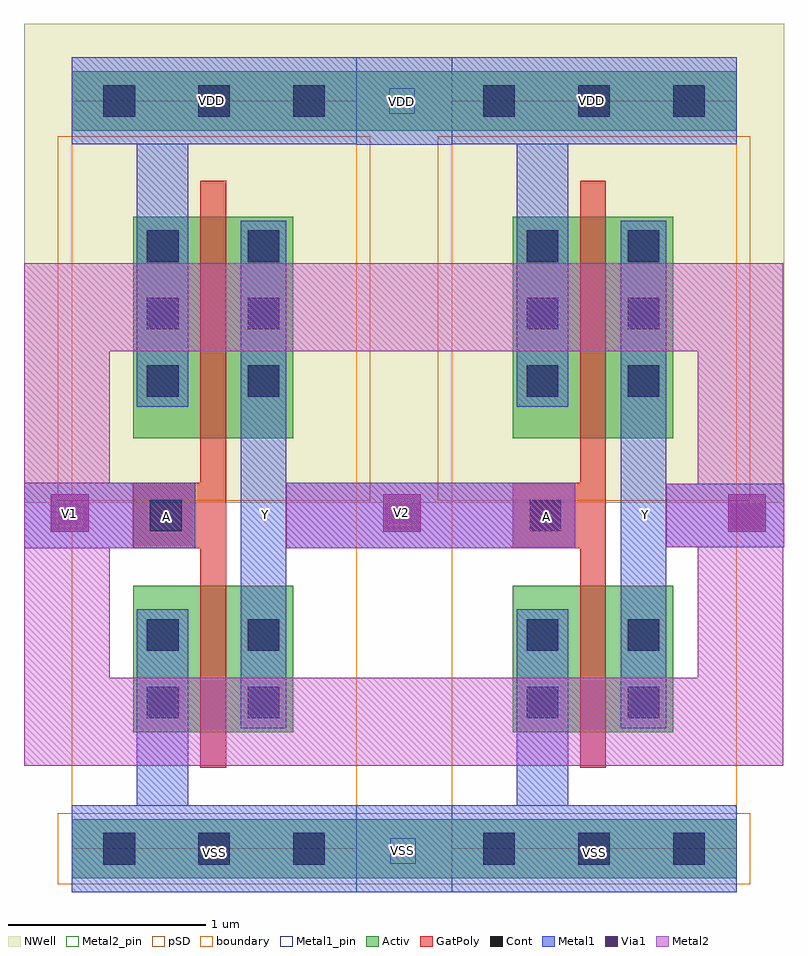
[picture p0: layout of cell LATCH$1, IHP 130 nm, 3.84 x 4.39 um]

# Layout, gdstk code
import gdstk
lib = gdstk.Library(unit=1e-6, precision=1e-09)
def R(c, l, rs):  # rectangles x0, y0, x1, y1
    for r in rs: c.add(gdstk.rectangle(r[:2], r[2:], *l))
def A(c, l, x, y, w, h, nx, ny, dx, dy):  # array of equal rectangles
    R(c, l, [(x+i*dx, y+j*dy, x+i*dx+w, y+j*dy+h) for i in range(nx) for j in range(ny)])
def P(c, l, *ps):  # polygons
    for p in ps: c.add(gdstk.Polygon(p, *l))
Activ = (1, 0)
GatPoly = (5, 0)
Cont = (6, 0)
Metal1 = (8, 0)
Metal1_pin = (8, 2)
Metal2 = (10, 0)
Metal2_pin = (10, 2)
pSD = (14, 0)
Via1 = (19, 0)
NWell = (31, 0)
boundary = (189, 4)

latch_1 = lib.new_cell('LATCH$1')
R(latch_1, Activ, [(6.341,3.971,7.781,4.271), (7.781,3.971,8.261,4.271), (8.261,3.971,9.701,4.271), (6.651,4.711,7.461,5.451), (8.571,4.711,9.381,5.451), (6.651,6.196,7.461,7.316), (8.571,6.196,9.381,7.316), (6.341,7.751,7.781,8.051), (7.781,7.751,8.263,8.051), (8.261,7.751,9.701,8.051)])
P(latch_1, GatPoly, [(6.991,4.531),(6.991,5.641),(6.651,5.641),(6.651,5.971),(6.991,5.971),(6.991,7.496),(7.121,7.496),(7.121,4.531)],
  [(8.911,4.531),(8.911,5.641),(8.571,5.641),(8.571,5.971),(8.911,5.971),(8.911,7.496),(9.041,7.496),(9.041,4.531)])
A(latch_1, Cont, 6.721, 6.406, 0.16, 0.16, 1, 3, 0, 0.34)
A(latch_1, Cont, 7.231, 6.406, 0.16, 0.16, 1, 3, 0, 0.34)
A(latch_1, Cont, 8.641, 6.406, 0.16, 0.16, 1, 3, 0, 0.34)
A(latch_1, Cont, 9.151, 6.406, 0.16, 0.16, 1, 3, 0, 0.34)
R(latch_1, Cont, [(6.501,4.041,6.661,4.201), (6.501,4.041,6.661,4.201), (6.981,4.041,7.141,4.201), (6.981,4.041,7.141,4.201), (7.461,4.041,7.621,4.201), (7.461,4.041,7.621,4.201), (8.421,4.041,8.581,4.201), (8.421,4.041,8.581,4.201), (8.901,4.041,9.061,4.201), (8.901,4.041,9.061,4.201), (9.381,4.041,9.541,4.201), (9.381,4.041,9.541,4.201), (6.721,4.781,6.881,4.941), (7.231,4.781,7.391,4.941), (8.641,4.781,8.801,4.941), (9.151,4.781,9.311,4.941), (6.721,5.121,6.881,5.281), (7.231,5.121,7.391,5.281), (8.641,5.121,8.801,5.281), (9.151,5.121,9.311,5.281), (6.736,5.726,6.896,5.886), (8.656,5.726,8.816,5.886), (6.501,7.821,6.661,7.981), (6.501,7.821,6.661,7.981), (6.981,7.821,7.141,7.981), (6.981,7.821,7.141,7.981), (7.461,7.821,7.621,7.981), (7.461,7.821,7.621,7.981), (8.421,7.821,8.581,7.981), (8.421,7.821,8.581,7.981), (8.901,7.821,9.061,7.981), (8.901,7.821,9.061,7.981), (9.381,7.821,9.541,7.981), (9.381,7.821,9.541,7.981)])
R(latch_1, Metal1, [(7.781,3.901,8.261,4.341), (7.196,4.731,7.426,7.296), (9.116,4.731,9.346,7.296), (6.1,5.641,6.966,5.971), (6.651,5.641,6.966,5.971), (7.426,5.641,8.886,5.97), (8.571,5.641,8.886,5.971), (9.116,5.645,9.941,5.965), (7.781,7.68,8.263,8.121)])
P(latch_1, Metal1, [(6.671,6.356),(6.671,7.681),(6.341,7.681),(6.341,8.121),(7.781,8.121),(7.781,7.681),(6.931,7.681),(6.931,6.356)],
  [(6.341,3.901),(6.341,4.341),(6.671,4.341),(6.671,5.331),(6.931,5.331),(6.931,4.341),(7.781,4.341),(7.781,3.901)],
  [(8.591,6.356),(8.591,7.681),(8.261,7.681),(8.261,8.121),(9.701,8.121),(9.701,7.681),(8.851,7.681),(8.851,6.356)],
  [(8.261,3.901),(8.261,4.341),(8.591,4.341),(8.591,5.331),(8.851,5.331),(8.851,4.341),(9.701,4.341),(9.701,3.901)])
R(latch_1, Metal1_pin, [(6.341,3.901,7.781,4.341), (8.261,3.901,9.701,4.341), (7.95,4.045,8.08,4.175), (7.196,4.731,7.426,7.296), (9.116,4.731,9.346,7.296), (6.651,5.641,6.966,5.971), (8.571,5.641,8.886,5.971), (6.341,7.681,7.781,8.121), (8.261,7.681,9.701,8.121), (7.945,7.835,8.075,7.965)])
R(latch_1, Metal2, [(6.1,4.54,9.938,4.986), (9.505,4.54,9.938,5.645), (6.1,4.86,6.533,5.971), (6.1,5.641,6.651,5.971), (7.426,5.641,8.886,5.97), (9.346,5.645,9.941,5.965), (9.505,5.965,9.938,7.081), (6.1,5.97,6.533,7.081), (6.1,6.635,9.938,7.081)])
R(latch_1, Metal2_pin, [(6.265,5.75,6.395,5.88), (7.945,5.755,8.075,5.885)])
R(latch_1, pSD, [(6.271,3.941,7.851,4.301), (7.851,3.941,8.191,4.301), (8.191,3.941,9.771,4.301), (6.271,5.881,7.851,7.721), (8.191,5.881,9.771,7.721)])
R(latch_1, Via1, [(6.236,5.723,6.426,5.913), (7.915,5.723,8.105,5.913), (9.66,5.723,9.85,5.913)])
R(latch_1, NWell, [(6.101,5.871,8.021,8.291), (8.021,5.871,9.941,8.291)])
R(latch_1, boundary, [(6.341,4.121,7.781,7.901), (8.261,4.121,9.701,7.901)])
latch_1.add(gdstk.Label('VDD', (8.01,7.9), layer=8, texttype=25))
latch_1.add(gdstk.Label('VSS', (8.015,4.11), layer=8, texttype=25))
latch_1.add(gdstk.Label('Y', (7.321,5.811), layer=8, texttype=25))
latch_1.add(gdstk.Label('A', (6.821,5.801), layer=8, texttype=25))
latch_1.add(gdstk.Label('VSS', (7.061,4.101), layer=8, texttype=25))
latch_1.add(gdstk.Label('VDD', (7.046,7.901), layer=8, texttype=25))
latch_1.add(gdstk.Label('Y', (9.241,5.811), layer=8, texttype=25))
latch_1.add(gdstk.Label('A', (8.741,5.801), layer=8, texttype=25))
latch_1.add(gdstk.Label('VSS', (8.981,4.101), layer=8, texttype=25))
latch_1.add(gdstk.Label('VDD', (8.966,7.901), layer=8, texttype=25))
latch_1.add(gdstk.Label('V1', (6.33,5.815), layer=10, texttype=25))
latch_1.add(gdstk.Label('V2', (8.01,5.82), layer=10, texttype=25))

lib.write_gds('LATCH_1.gds')
